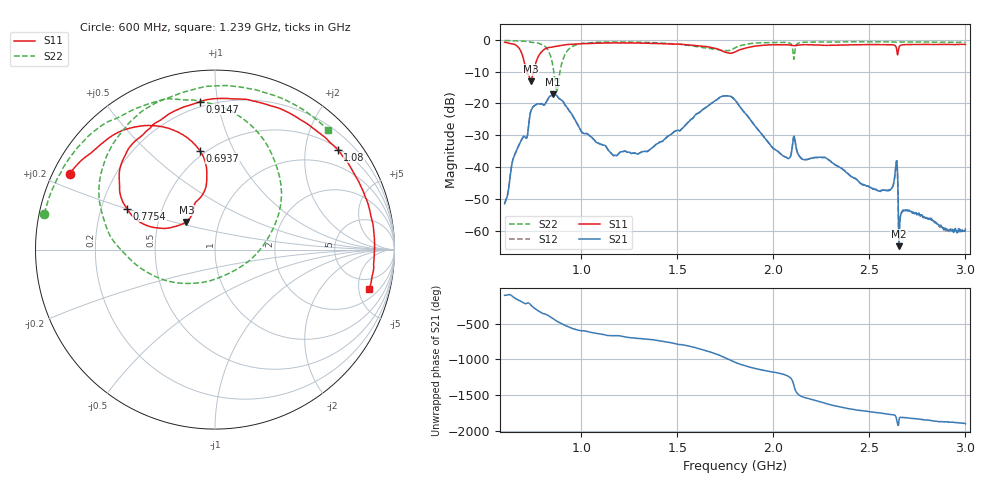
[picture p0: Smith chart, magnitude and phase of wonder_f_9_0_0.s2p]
#  HZ  S  RI  R  50.00
! Rohde & Schwarz ZVB8 2Ports - Version 2.81 - 1145.1010k08 SN: 100113
! Date: 2016-05-12 03:16:25
! Measurements: S11 S21 S12 S22
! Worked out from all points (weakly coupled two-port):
!   1000 points, 600 MHz to 3 GHz, reference 50 ohm
!   highest |S21| = -17.21 dB at 852.3 MHz (marker M1); lowest = -64.8 dB at 2.654 GHz (marker M2)
!   lowest |S11| = -13.1 dB at 736.9 MHz (marker M3), VSWR 1.57, Z = 34.7 + j11.3 ohm
!   |S11| at or under -10 dB: 714.3 MHz to 750.4 MHz (36.06 MHz wide, 4.92 % of centre)
!   |S22| runs from -16.3 to -0.2 dB; largest |S21 - S12| = 0.0011
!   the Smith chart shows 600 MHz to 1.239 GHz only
!   S11 on the Smith chart (normalised r, x): 600 MHz: 0.05, +0.24; 693.7 MHz: 0.46, +0.74; 775.4 MHz: 0.31, +0.20; 914.7 MHz: 0.17, +0.89; 1.08 GHz: 0.54, +2.72; 1.239 GHz: 3.15, -6.51
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6e8  -0.8106 0.4216  -0.000664 -0.00257  -0.000701 -0.00263  -0.9509 0.2002
6.936937e8  -0.0849 0.5518  -0.0267 0.0106  -0.0268 0.0104  -0.7298 0.607
7.369369e8  -0.1598 0.1546  -0.0373 0.0664  -0.0367 0.0667  -0.5226 0.7446
7.753754e8  -0.4903 0.2286  0.078 0.0597  0.0788 0.0603  -0.2799 0.8388
8.162162e8  -0.4962 0.5335  0.1011 -0.0231  0.1012 -0.0233  0.1413 0.7392
8.522523e8  -0.3589 0.6796  0.0447 -0.1305  0.0444 -0.1306  0.3399 0.1544
8.738739e8  -0.2758 0.7423  -0.0439 -0.122  -0.0439 -0.1221  0.0225 -0.1563
9.147147e8  -0.0819 0.8248  -0.0916 -0.0219  -0.0916 -0.022  -0.5825 0.0732
1.001201e9  0.3545 0.7888  -0.0176 0.031  -0.0176 0.0309  -0.4141 0.765
1.08048e9  0.6835 0.5567  0.00355 0.024  0.00359 0.0239  -0.018 0.9114
1.239039e9  0.8606 -0.2184  0.0151 0.00795  0.0151 0.00798  0.6305 0.6668
1.4e9  0.347 -0.798  0.0224 -0.00759  0.0224 -0.00756  0.8903 0.0684
1.623423e9  -0.5414 -0.5812  -0.059 -0.0477  -0.0591 -0.0478  0.5093 -0.5624
1.801201e9  -0.6192 -0.1728  0.0903 0.0661  0.0906 0.0659  0.3039 -0.6824
1.974174e9  -0.7289 0.3934  7.87e-05 -0.0243  7.34e-05 -0.0242  -0.2176 -0.8713
2.2e9  -0.00241 0.8324  -0.00789 -0.0114  -0.00789 -0.0114  -0.6989 -0.5943
2.433033e9  0.7505 0.3545  0.000186 0.00636  0.000217 0.00641  -0.9223 -0.0762
2.601201e9  0.7495 -0.3744  0.00381 0.002  0.0038 0.00202  -0.8709 0.3009
2.634835e9  0.6069 -0.5243  0.00835 0.0013  0.00833 0.00125  -0.8384 0.3681
2.654054e9  0.6522 -0.3843  0.000334 -0.000468  0.000382 -0.000429  -0.8289 0.3962
2.800601e9  0.1506 -0.8264  0.000942 -0.00128  0.000964 -0.0012  -0.6278 0.67
3e9  -0.5423 -0.6443  -0.000249 -0.00103  -0.000137 -0.00097  -0.2035 0.8831
